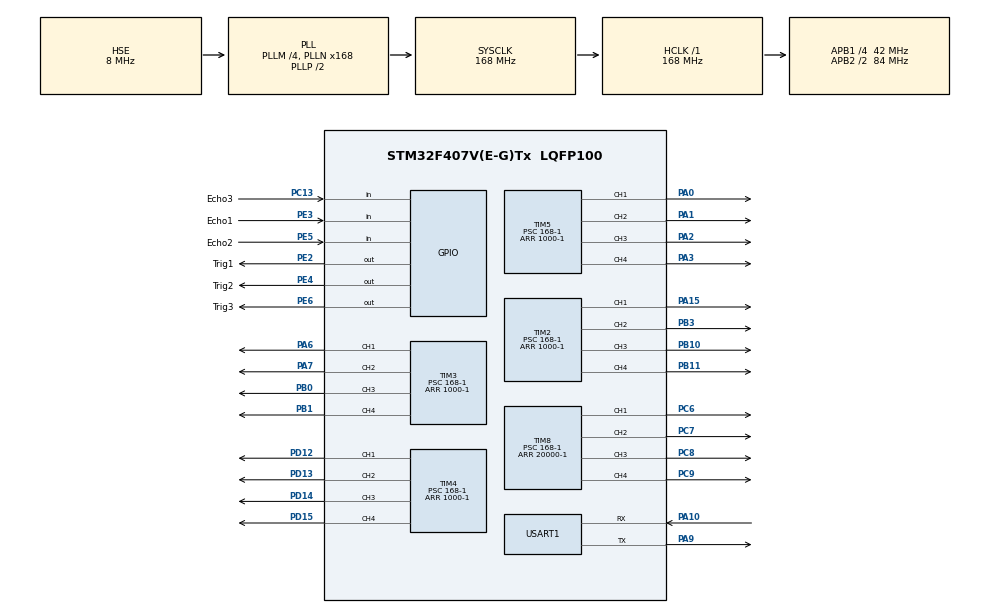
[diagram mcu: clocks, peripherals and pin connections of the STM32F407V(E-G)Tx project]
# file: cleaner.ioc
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Dma.Request0=USART1_RX
Dma.USART1_RX.0.Direction=DMA_PERIPH_TO_MEMORY
Dma.USART1_RX.0.FIFOMode=DMA_FIFOMODE_DISABLE
Dma.USART1_RX.0.Instance=DMA2_Stream2
Dma.USART1_RX.0.MemDataAlignment=DMA_MDATAALIGN_BYTE
Dma.USART1_RX.0.MemInc=DMA_MINC_ENABLE
Dma.USART1_RX.0.Mode=DMA_CIRCULAR
Dma.USART1_RX.0.PeriphDataAlignment=DMA_PDATAALIGN_BYTE
Dma.USART1_RX.0.PeriphInc=DMA_PINC_DISABLE
Dma.USART1_RX.0.Priority=DMA_PRIORITY_LOW
FREERTOS.INCLUDE_eTaskGetState=1
FREERTOS.INCLUDE_pcTaskGetTaskName=1
FREERTOS.INCLUDE_uxTaskGetStackHighWaterMark=1
FREERTOS.INCLUDE_vTaskCleanUpResources=1
FREERTOS.INCLUDE_vTaskDelayUntil=1
FREERTOS.INCLUDE_xEventGroupSetBitFromISR=1
FREERTOS.INCLUDE_xQueueGetMutexHolder=1
FREERTOS.INCLUDE_xSemaphoreGetMutexHolder=1
FREERTOS.INCLUDE_xTaskAbortDelay=1
FREERTOS.INCLUDE_xTaskGetCurrentTaskHandle=1
FREERTOS.INCLUDE_xTaskGetHandle=1
FREERTOS.INCLUDE_xTimerPendFunctionCall=1
FREERTOS.Tasks01=defaultTask,0,128,StartDefaultTask,Default,NULL,Dynamic,NULL,NULL;Distance,1,128,StartDistance,Default,NULL,Dynamic,NULL,NULL;Upper,1,128,StartUpper,Default,NULL,Dynamic,NULL,NULL;Chassis,-3,128,StartChassis,Default,NULL,Dynamic,NULL,NULL;Arm,-3,128,StartArm,Default,NULL,Dynamic,NULL,NULL
FREERTOS.configTOTAL_HEAP_SIZE=24576
FREERTOS.configUSE_TIMERS=1
Mcu.Family=STM32F4
Mcu.Name=STM32F407V(E-G)Tx
Mcu.Package=LQFP100
NVIC.DMA2_Stream2_IRQn=true\:5\:0\:false\:false\:true\:true\:false\:true\:true
NVIC.PriorityGroup=NVIC_PRIORITYGROUP_4
NVIC.TIM1_UP_TIM10_IRQn=true\:15\:0\:false\:false\:true\:false\:false\:true\:true
NVIC.TIM6_DAC_IRQn=true\:5\:0\:false\:false\:true\:true\:true\:true\:true
NVIC.TimeBase=TIM1_UP_TIM10_IRQn
NVIC.TimeBaseIP=TIM1
NVIC.USART1_IRQn=true\:5\:0\:false\:false\:true\:true\:true\:true\:true
PA0-WKUP.Signal=S_TIM5_CH1
PA1.Signal=S_TIM5_CH2
PA10.Mode=Asynchronous
PA10.Signal=USART1_RX
PA13.Mode=Serial_Wire
PA13.Signal=SYS_JTMS-SWDIO
PA14.Mode=Serial_Wire
PA14.Signal=SYS_JTCK-SWCLK
PA15.Signal=S_TIM2_CH1_ETR
PA2.Signal=S_TIM5_CH3
PA3.Signal=S_TIM5_CH4
PA6.Signal=S_TIM3_CH1
PA7.Signal=S_TIM3_CH2
PA9.Mode=Asynchronous
PA9.Signal=USART1_TX
PB0.Signal=S_TIM3_CH3
PB1.Signal=S_TIM3_CH4
PB10.Signal=S_TIM2_CH3
PB11.Signal=S_TIM2_CH4
PB3.Signal=S_TIM2_CH2
PC13-ANTI_TAMP.GPIO_Label=Echo3
PC13-ANTI_TAMP.GPIO_PuPd=GPIO_PULLDOWN
PC13-ANTI_TAMP.Signal=GPIO_Input
PC6.Signal=S_TIM8_CH1
PC7.Signal=S_TIM8_CH2
PC8.Signal=S_TIM8_CH3
PC9.Signal=S_TIM8_CH4
PD12.Signal=S_TIM4_CH1
PD13.Signal=S_TIM4_CH2
PD14.Signal=S_TIM4_CH3
PD15.Signal=S_TIM4_CH4
PE2.GPIO_Label=Trig1
PE2.GPIO_Speed=GPIO_SPEED_FREQ_VERY_HIGH
PE2.Signal=GPIO_Output
PE3.GPIO_Label=Echo1
PE3.GPIO_PuPd=GPIO_PULLDOWN
PE3.Signal=GPIO_Input
PE4.GPIO_Label=Trig2
PE4.GPIO_Speed=GPIO_SPEED_FREQ_VERY_HIGH
PE4.Signal=GPIO_Output
PE5.GPIO_Label=Echo2
PE5.GPIO_PuPd=GPIO_PULLDOWN
PE5.Signal=GPIO_Input
PE6.GPIO_Label=Trig3
PE6.GPIO_Speed=GPIO_SPEED_FREQ_VERY_HIGH
PE6.Signal=GPIO_Output
PH0-OSC_IN.Mode=HSE-External-Oscillator
PH0-OSC_IN.Signal=RCC_OSC_IN
PH1-OSC_OUT.Mode=HSE-External-Oscillator
PH1-OSC_OUT.Signal=RCC_OSC_OUT
ProjectManager.HeapSize=0x200
ProjectManager.StackSize=0x400
ProjectManager.TargetToolchain=CMake
RCC.48MHZClocksFreq_Value=84000000
RCC.AHBFreq_Value=168000000
RCC.APB1CLKDivider=RCC_HCLK_DIV4
RCC.APB1Freq_Value=42000000
RCC.APB1TimFreq_Value=84000000
RCC.APB2CLKDivider=RCC_HCLK_DIV2
RCC.APB2Freq_Value=84000000
RCC.APB2TimFreq_Value=168000000
RCC.CortexFreq_Value=168000000
RCC.HCLKFreq_Value=168000000
RCC.HSE_VALUE=8000000
RCC.HSI_VALUE=16000000
RCC.LSE_VALUE=32768
RCC.PLLM=4
RCC.PLLN=168
RCC.PLLSourceVirtual=RCC_PLLSOURCE_HSE
RCC.SYSCLKFreq_VALUE=168000000
RCC.SYSCLKSource=RCC_SYSCLKSOURCE_PLLCLK
RCC.VCOOutputFreq_Value=336000000
SH.S_TIM2_CH1_ETR.0=TIM2_CH1,PWM Generation1 CH1
SH.S_TIM2_CH2.0=TIM2_CH2,PWM Generation2 CH2
SH.S_TIM2_CH3.0=TIM2_CH3,PWM Generation3 CH3
SH.S_TIM2_CH4.0=TIM2_CH4,PWM Generation4 CH4
SH.S_TIM3_CH1.0=TIM3_CH1,PWM Generation1 CH1
SH.S_TIM3_CH2.0=TIM3_CH2,PWM Generation2 CH2
SH.S_TIM3_CH3.0=TIM3_CH3,PWM Generation3 CH3
SH.S_TIM3_CH4.0=TIM3_CH4,PWM Generation4 CH4
SH.S_TIM4_CH1.0=TIM4_CH1,PWM Generation1 CH1
SH.S_TIM4_CH2.0=TIM4_CH2,PWM Generation2 CH2
SH.S_TIM4_CH3.0=TIM4_CH3,PWM Generation3 CH3
SH.S_TIM4_CH4.0=TIM4_CH4,PWM Generation4 CH4
SH.S_TIM5_CH1.0=TIM5_CH1,PWM Generation1 CH1
SH.S_TIM5_CH2.0=TIM5_CH2,PWM Generation2 CH2
SH.S_TIM5_CH3.0=TIM5_CH3,PWM Generation3 CH3
SH.S_TIM5_CH4.0=TIM5_CH4,PWM Generation4 CH4
SH.S_TIM8_CH1.0=TIM8_CH1,PWM Generation1 CH1
SH.S_TIM8_CH2.0=TIM8_CH2,PWM Generation2 CH2
SH.S_TIM8_CH3.0=TIM8_CH3,PWM Generation3 CH3
SH.S_TIM8_CH4.0=TIM8_CH4,PWM Generation4 CH4
TIM2.Channel-PWM\ Generation1\ CH1=TIM_CHANNEL_1
TIM2.Channel-PWM\ Generation2\ CH2=TIM_CHANNEL_2
TIM2.Channel-PWM\ Generation3\ CH3=TIM_CHANNEL_3
TIM2.Channel-PWM\ Generation4\ CH4=TIM_CHANNEL_4
TIM2.Period=1000-1
TIM2.Prescaler=168-1
TIM3.Channel-PWM\ Generation1\ CH1=TIM_CHANNEL_1
TIM3.Channel-PWM\ Generation2\ CH2=TIM_CHANNEL_2
TIM3.Channel-PWM\ Generation3\ CH3=TIM_CHANNEL_3
TIM3.Channel-PWM\ Generation4\ CH4=TIM_CHANNEL_4
TIM3.Period=1000-1
TIM3.Prescaler=168-1
TIM4.Channel-PWM\ Generation1\ CH1=TIM_CHANNEL_1
TIM4.Channel-PWM\ Generation2\ CH2=TIM_CHANNEL_2
TIM4.Channel-PWM\ Generation3\ CH3=TIM_CHANNEL_3
TIM4.Channel-PWM\ Generation4\ CH4=TIM_CHANNEL_4
TIM4.Period=1000-1
TIM4.Prescaler=168-1
TIM5.Channel-PWM\ Generation1\ CH1=TIM_CHANNEL_1
TIM5.Channel-PWM\ Generation2\ CH2=TIM_CHANNEL_2
TIM5.Channel-PWM\ Generation3\ CH3=TIM_CHANNEL_3
TIM5.Channel-PWM\ Generation4\ CH4=TIM_CHANNEL_4
TIM5.Period=1000-1
TIM5.Prescaler=168-1
TIM6.AutoReloadPreload=TIM_AUTORELOAD_PRELOAD_ENABLE
TIM6.Period=10-1
TIM6.Prescaler=168-1
TIM8.Channel-PWM\ Generation1\ CH1=TIM_CHANNEL_1
TIM8.Channel-PWM\ Generation2\ CH2=TIM_CHANNEL_2
TIM8.Channel-PWM\ Generation3\ CH3=TIM_CHANNEL_3
TIM8.Channel-PWM\ Generation4\ CH4=TIM_CHANNEL_4
TIM8.Period=20000-1
TIM8.Prescaler=168-1
USART1.VirtualMode=VM_ASYNC
VP_FREERTOS_VS_CMSIS_V1.Mode=CMSIS_V1
VP_SYS_VS_tim1.Mode=TIM1
VP_TIM6_VS_ClockSourceINT.Mode=Enable_Timer
board=custom

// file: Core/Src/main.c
/* USER CODE BEGIN Header */
/**
  ******************************************************************************
  * @file           : main.c
  * @brief          : Main program body
  ******************************************************************************
  * @attention
  *
  * Copyright (c) 2024 STMicroelectronics.
  * All rights reserved.
  *
  * This software is licensed under terms that can be found in the LICENSE file
  * in the root directory of this software component.
  * If no LICENSE file comes with this software, it is provided AS-IS.
  *
  ******************************************************************************
  */
/* USER CODE END Header */
#include "main.h"
#include "cmsis_os.h"
#include "dma.h"
#include "tim.h"
#include "usart.h"
#include "gpio.h"

/* USER CODE BEGIN Includes */
#include "bsp_dwt.h"
#include "distance.h"
#include "bsp_uart.h"
#include "arm.h"
/* USER CODE END Includes */

void SystemClock_Config(void);
void MX_FREERTOS_Init(void);

int main(void)
{

  /* MCU Configuration--------------------------------------------------------*/

  /* Reset of all peripherals, Initializes the Flash interface and the Systick. */
  HAL_Init();

  /* Configure the system clock */
  SystemClock_Config();

  /* Initialize all configured peripherals */
  MX_GPIO_Init();
  MX_DMA_Init();
  MX_TIM2_Init();
  MX_TIM3_Init();
  MX_TIM4_Init();
  MX_TIM8_Init();
  MX_USART1_UART_Init();
  MX_TIM5_Init();
  MX_TIM6_Init();
  /* USER CODE BEGIN 2 */
    DWT_Init();
    //tim for distance
    __HAL_TIM_CLEAR_IT(&htim6, TIM_IT_UPDATE);
    HAL_TIM_Base_Start_IT(&htim6);
    //uart camera
    initUart(&huart1,rx_buff,10);
    //pwm
    HAL_TIM_PWM_Start(&htim2, TIM_CHANNEL_1);
    HAL_TIM_PWM_Start(&htim2, TIM_CHANNEL_2);
    HAL_TIM_PWM_Start(&htim2, TIM_CHANNEL_3);
    HAL_TIM_PWM_Start(&htim2, TIM_CHANNEL_4);
    HAL_TIM_PWM_Start(&htim3, TIM_CHANNEL_1);
    HAL_TIM_PWM_Start(&htim3, TIM_CHANNEL_2);
    HAL_TIM_PWM_Start(&htim3, TIM_CHANNEL_3);
    HAL_TIM_PWM_Start(&htim3, TIM_CHANNEL_4);
    HAL_TIM_PWM_Start(&htim4, TIM_CHANNEL_1);
    HAL_TIM_PWM_Start(&htim4, TIM_CHANNEL_2);
    HAL_TIM_PWM_Start(&htim4, TIM_CHANNEL_3);
    HAL_TIM_PWM_Start(&htim4, TIM_CHANNEL_4);
    HAL_TIM_PWM_Start(&htim5, TIM_CHANNEL_1);
    HAL_TIM_PWM_Start(&htim5, TIM_CHANNEL_2);
    HAL_TIM_PWM_Start(&htim5, TIM_CHANNEL_3);
    HAL_TIM_PWM_Start(&htim5, TIM_CHANNEL_4);
    HAL_TIM_PWM_Start(&htim8, TIM_CHANNEL_1);
    HAL_TIM_PWM_Start(&htim8, TIM_CHANNEL_2);
    HAL_TIM_PWM_Start(&htim8, TIM_CHANNEL_3);
    HAL_TIM_PWM_Start(&htim8, TIM_CHANNEL_4);

  /* USER CODE END 2 */

  /* Call init function for freertos objects (in cmsis_os2.c) */
  MX_FREERTOS_Init();

  /* Start scheduler */
  osKernelStart();

  /* We should never get here as control is now taken by the scheduler */

  /* Infinite loop */
    while (1)
    {

    }
}

void SystemClock_Config(void)
{
  RCC_OscInitTypeDef RCC_OscInitStruct = {0};
  RCC_ClkInitTypeDef RCC_ClkInitStruct = {0};

  /** Configure the main internal regulator output voltage
  */
  __HAL_RCC_PWR_CLK_ENABLE();
  __HAL_PWR_VOLTAGESCALING_CONFIG(PWR_REGULATOR_VOLTAGE_SCALE1);

  /** Initializes the RCC Oscillators according to the specified parameters
  * in the RCC_OscInitTypeDef structure.
  */
  RCC_OscInitStruct.OscillatorType = RCC_OSCILLATORTYPE_HSE;
  RCC_OscInitStruct.HSEState = RCC_HSE_ON;
  RCC_OscInitStruct.PLL.PLLState = RCC_PLL_ON;
  RCC_OscInitStruct.PLL.PLLSource = RCC_PLLSOURCE_HSE;
  RCC_OscInitStruct.PLL.PLLM = 4;
  RCC_OscInitStruct.PLL.PLLN = 168;
  RCC_OscInitStruct.PLL.PLLP = RCC_PLLP_DIV2;
  RCC_OscInitStruct.PLL.PLLQ = 4;
  if (HAL_RCC_OscConfig(&RCC_OscInitStruct) != HAL_OK)
  {
    Error_Handler();
  }

  /** Initializes the CPU, AHB and APB buses clocks
  */
  RCC_ClkInitStruct.ClockType = RCC_CLOCKTYPE_HCLK|RCC_CLOCKTYPE_SYSCLK
                              |RCC_CLOCKTYPE_PCLK1|RCC_CLOCKTYPE_PCLK2;
  RCC_ClkInitStruct.SYSCLKSource = RCC_SYSCLKSOURCE_PLLCLK;
  RCC_ClkInitStruct.AHBCLKDivider = RCC_SYSCLK_DIV1;
  RCC_ClkInitStruct.APB1CLKDivider = RCC_HCLK_DIV4;
  RCC_ClkInitStruct.APB2CLKDivider = RCC_HCLK_DIV2;

  if (HAL_RCC_ClockConfig(&RCC_ClkInitStruct, FLASH_LATENCY_5) != HAL_OK)
  {
    Error_Handler();
  }
}

void HAL_TIM_PeriodElapsedCallback(TIM_HandleTypeDef *htim)
{
  if (htim->Instance == TIM1) {
    HAL_IncTick();
  }
  /* USER CODE BEGIN Callback 1 */

    if (htim->Instance == TIM6)
    {
        //10us加一
        forward.time++;
        left.time++;
        right.time++;
        time++;
    }
  /* USER CODE END Callback 1 */
}

void Error_Handler(void)
{
    __disable_irq();
    while (1)
    {
    }
}

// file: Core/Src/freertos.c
/* USER CODE BEGIN Header */
/**
  ******************************************************************************
  * File Name          : freertos.c
  * Description        : Code for freertos applications
  ******************************************************************************
  * @attention
  *
  * Copyright (c) 2024 STMicroelectronics.
  * All rights reserved.
  *
  * This software is licensed under terms that can be found in the LICENSE file
  * in the root directory of this software component.
  * If no LICENSE file comes with this software, it is provided AS-IS.
  *
  ******************************************************************************
  */
/* USER CODE END Header */

#include "FreeRTOS.h"
#include "task.h"
#include "main.h"
#include "cmsis_os.h"

/* USER CODE BEGIN Includes */
#include "distance.h"
#include "upper.h"
#include "chassis.h"
#include "arm.h"
/* USER CODE END Includes */

osThreadId defaultTaskHandle;
osThreadId DistanceHandle;
osThreadId UpperHandle;
osThreadId ChassisHandle;
osThreadId ArmHandle;

void StartDefaultTask(void const * argument);
void StartDistance(void const * argument);
void StartUpper(void const * argument);
void StartChassis(void const * argument);
void StartArm(void const * argument);

void MX_FREERTOS_Init(void); /* (MISRA C 2004 rule 8.1) */

/* GetIdleTaskMemory prototype (linked to static allocation support) */
void vApplicationGetIdleTaskMemory( StaticTask_t **ppxIdleTaskTCBBuffer, StackType_t **ppxIdleTaskStackBuffer, uint32_t *pulIdleTaskStackSize );

/* GetTimerTaskMemory prototype (linked to static allocation support) */
void vApplicationGetTimerTaskMemory( StaticTask_t **ppxTimerTaskTCBBuffer, StackType_t **ppxTimerTaskStackBuffer, uint32_t *pulTimerTaskStackSize );

/* USER CODE BEGIN GET_IDLE_TASK_MEMORY */
static StaticTask_t xIdleTaskTCBBuffer;
static StackType_t xIdleStack[configMINIMAL_STACK_SIZE];

void vApplicationGetIdleTaskMemory(StaticTask_t **ppxIdleTaskTCBBuffer, StackType_t **ppxIdleTaskStackBuffer,
                                   uint32_t *pulIdleTaskStackSize)
{
    *ppxIdleTaskTCBBuffer = &xIdleTaskTCBBuffer;
    *ppxIdleTaskStackBuffer = &xIdleStack[0];
    *pulIdleTaskStackSize = configMINIMAL_STACK_SIZE;
    /* place for user code */
}
/* USER CODE END GET_IDLE_TASK_MEMORY */

/* USER CODE BEGIN GET_TIMER_TASK_MEMORY */
static StaticTask_t xTimerTaskTCBBuffer;
static StackType_t xTimerStack[configTIMER_TASK_STACK_DEPTH];

void vApplicationGetTimerTaskMemory(StaticTask_t **ppxTimerTaskTCBBuffer, StackType_t **ppxTimerTaskStackBuffer,
                                    uint32_t *pulTimerTaskStackSize)
{
    *ppxTimerTaskTCBBuffer = &xTimerTaskTCBBuffer;
    *ppxTimerTaskStackBuffer = &xTimerStack[0];
    *pulTimerTaskStackSize = configTIMER_TASK_STACK_DEPTH;
    /* place for user code */
}
/* USER CODE END GET_TIMER_TASK_MEMORY */

void MX_FREERTOS_Init(void) {

  /* Create the thread(s) */
  /* definition and creation of defaultTask */
  osThreadDef(defaultTask, StartDefaultTask, osPriorityNormal, 0, 128);
  defaultTaskHandle = osThreadCreate(osThread(defaultTask), NULL);

  /* definition and creation of Distance */
  osThreadDef(Distance, StartDistance, osPriorityAboveNormal, 0, 128);
  DistanceHandle = osThreadCreate(osThread(Distance), NULL);

  /* definition and creation of Upper */
  osThreadDef(Upper, StartUpper, osPriorityAboveNormal, 0, 128);
  UpperHandle = osThreadCreate(osThread(Upper), NULL);

  /* definition and creation of Chassis */
  osThreadDef(Chassis, StartChassis, osPriorityIdle, 0, 128);
  ChassisHandle = osThreadCreate(osThread(Chassis), NULL);

  /* definition and creation of Arm */
  osThreadDef(Arm, StartArm, osPriorityIdle, 0, 128);
  ArmHandle = osThreadCreate(osThread(Arm), NULL);

}

void StartDefaultTask(void const * argument)
{
  /* USER CODE BEGIN StartDefaultTask */
    /* Infinite loop */
    for (;;)
    {
        osDelay(10);
    }
  /* USER CODE END StartDefaultTask */
}

void StartDistance(void const * argument)
{
  /* USER CODE BEGIN StartDistance */
    initDistance();
    /* Infinite loop */
    for (;;)
    {
        updateDistance();
        osDelay(1);
    }
  /* USER CODE END StartDistance */
}

void StartUpper(void const * argument)
{
  /* USER CODE BEGIN StartUpper */
    initUpper();
    /* Infinite loop */
    for (;;)
    {
        controlUpper();
        osDelay(1);
    }
  /* USER CODE END StartUpper */
}

void StartChassis(void const * argument)
{
  /* USER CODE BEGIN StartChassis */
    initChassis();
    /* Infinite loop */
    for (;;)
    {
        controlChassis();
        osDelay(1);
    }
  /* USER CODE END StartChassis */
}

void StartArm(void const * argument)
{
  /* USER CODE BEGIN StartArm */
  initArm();
    /* Infinite loop */
    for (;;)
    {
        controlArm();
        osDelay(1);
    }
  /* USER CODE END StartArm */
}
